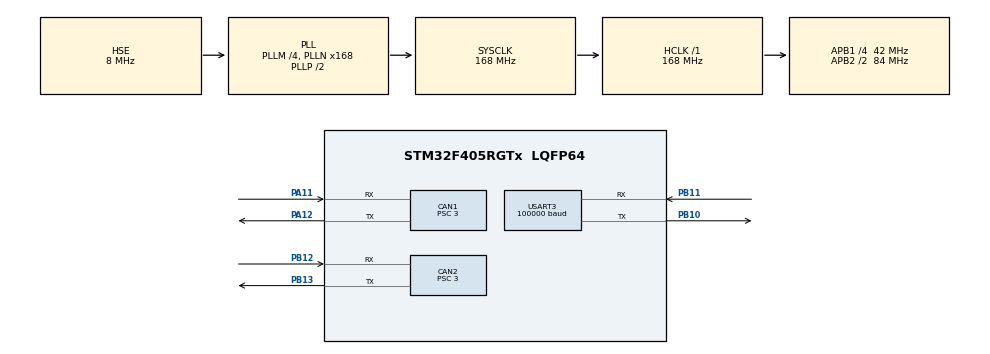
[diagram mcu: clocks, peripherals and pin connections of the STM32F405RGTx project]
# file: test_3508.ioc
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CAN1.BS1=CAN_BS1_10TQ
CAN1.BS2=CAN_BS2_3TQ
CAN1.CalculateBaudRate=1000000
CAN1.CalculateTimeBit=1000
CAN1.CalculateTimeQuantum=71.42857142857143
CAN1.Prescaler=3
CAN2.BS1=CAN_BS1_10TQ
CAN2.BS2=CAN_BS2_3TQ
CAN2.CalculateBaudRate=1000000
CAN2.CalculateTimeBit=1000
CAN2.CalculateTimeQuantum=71.42857142857143
CAN2.Prescaler=3
Dma.Request0=USART3_RX
Dma.Request1=USART3_TX
Dma.USART3_RX.0.Direction=DMA_PERIPH_TO_MEMORY
Dma.USART3_RX.0.FIFOMode=DMA_FIFOMODE_DISABLE
Dma.USART3_RX.0.Instance=DMA1_Stream1
Dma.USART3_RX.0.MemDataAlignment=DMA_MDATAALIGN_BYTE
Dma.USART3_RX.0.MemInc=DMA_MINC_ENABLE
Dma.USART3_RX.0.Mode=DMA_NORMAL
Dma.USART3_RX.0.PeriphDataAlignment=DMA_PDATAALIGN_BYTE
Dma.USART3_RX.0.PeriphInc=DMA_PINC_DISABLE
Dma.USART3_RX.0.Priority=DMA_PRIORITY_LOW
Dma.USART3_TX.1.Direction=DMA_MEMORY_TO_PERIPH
Dma.USART3_TX.1.FIFOMode=DMA_FIFOMODE_DISABLE
Dma.USART3_TX.1.Instance=DMA1_Stream3
Dma.USART3_TX.1.MemDataAlignment=DMA_MDATAALIGN_BYTE
Dma.USART3_TX.1.MemInc=DMA_MINC_ENABLE
Dma.USART3_TX.1.Mode=DMA_NORMAL
Dma.USART3_TX.1.PeriphDataAlignment=DMA_PDATAALIGN_BYTE
Dma.USART3_TX.1.PeriphInc=DMA_PINC_DISABLE
Dma.USART3_TX.1.Priority=DMA_PRIORITY_LOW
FREERTOS.INCLUDE_vTaskDelayUntil=1
FREERTOS.Tasks01=defaultTask,2,128,StartDefaultTask,Default,NULL,Dynamic,NULL,NULL;myTask02,2,128,StartTask02,Default,NULL,Dynamic,NULL,NULL;myTask03,2,128,StartTask03,Default,NULL,Dynamic,NULL,NULL;myTask04,2,128,StartTask04,Default,NULL,Dynamic,NULL,NULL;myTask05,2,128,StartTask05,Default,NULL,Dynamic,NULL,NULL;myTask06,2,128,StartTask06,Default,NULL,Dynamic,NULL,NULL
Mcu.Family=STM32F4
Mcu.Name=STM32F405RGTx
Mcu.Package=LQFP64
NVIC.CAN1_RX0_IRQn=true\:5\:0\:false\:false\:true\:true\:true\:true\:true
NVIC.CAN1_RX1_IRQn=true\:5\:0\:false\:false\:true\:true\:true\:true\:true
NVIC.CAN1_SCE_IRQn=true\:5\:0\:false\:false\:true\:true\:true\:true\:true
NVIC.CAN1_TX_IRQn=true\:5\:0\:false\:false\:true\:true\:true\:true\:true
NVIC.CAN2_RX0_IRQn=true\:5\:0\:false\:false\:true\:true\:true\:true\:true
NVIC.CAN2_RX1_IRQn=true\:5\:0\:false\:false\:true\:true\:true\:true\:true
NVIC.CAN2_SCE_IRQn=true\:5\:0\:false\:false\:true\:true\:true\:true\:true
NVIC.CAN2_TX_IRQn=true\:5\:0\:false\:false\:true\:true\:true\:true\:true
NVIC.DMA1_Stream1_IRQn=true\:5\:0\:false\:false\:true\:true\:false\:true\:true
NVIC.DMA1_Stream3_IRQn=true\:5\:0\:false\:false\:true\:true\:false\:true\:true
NVIC.PriorityGroup=NVIC_PRIORITYGROUP_4
NVIC.TIM2_IRQn=true\:15\:0\:false\:false\:true\:false\:false\:true\:true
NVIC.TimeBase=TIM2_IRQn
NVIC.TimeBaseIP=TIM2
NVIC.USART3_IRQn=true\:5\:0\:false\:false\:true\:true\:true\:true\:true
PA11.Mode=CAN_Activate
PA11.Signal=CAN1_RX
PA12.Mode=CAN_Activate
PA12.Signal=CAN1_TX
PA13.Mode=Serial_Wire
PA13.Signal=SYS_JTMS-SWDIO
PA14.Mode=Serial_Wire
PA14.Signal=SYS_JTCK-SWCLK
PB10.Mode=Asynchronous
PB10.Signal=USART3_TX
PB11.Mode=Asynchronous
PB11.Signal=USART3_RX
PB12.Mode=CAN_Activate
PB12.Signal=CAN2_RX
PB13.Mode=CAN_Activate
PB13.Signal=CAN2_TX
PH0-OSC_IN.Mode=HSE-External-Oscillator
PH0-OSC_IN.Signal=RCC_OSC_IN
PH1-OSC_OUT.Mode=HSE-External-Oscillator
PH1-OSC_OUT.Signal=RCC_OSC_OUT
ProjectManager.HeapSize=0x200
ProjectManager.StackSize=0x400
ProjectManager.TargetToolchain=MDK-ARM V5
RCC.48MHZClocksFreq_Value=84000000
RCC.AHBFreq_Value=168000000
RCC.APB1CLKDivider=RCC_HCLK_DIV4
RCC.APB1Freq_Value=42000000
RCC.APB1TimFreq_Value=84000000
RCC.APB2CLKDivider=RCC_HCLK_DIV2
RCC.APB2Freq_Value=84000000
RCC.APB2TimFreq_Value=168000000
RCC.CortexFreq_Value=168000000
RCC.HCLKFreq_Value=168000000
RCC.HSE_VALUE=8000000
RCC.HSI_VALUE=16000000
RCC.LSE_VALUE=32768
RCC.PLLM=4
RCC.PLLN=168
RCC.PLLSourceVirtual=RCC_PLLSOURCE_HSE
RCC.SYSCLKFreq_VALUE=168000000
RCC.SYSCLKSource=RCC_SYSCLKSOURCE_PLLCLK
RCC.VCOOutputFreq_Value=336000000
USART3.BaudRate=100000
USART3.VirtualMode=VM_ASYNC
VP_FREERTOS_VS_CMSIS_V1.Mode=CMSIS_V1
VP_SYS_VS_tim2.Mode=TIM2
board=custom

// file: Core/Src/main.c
/* USER CODE BEGIN Header */
/**
  ******************************************************************************
  * @file           : main.c
  * @brief          : Main program body
  ******************************************************************************
  * @attention
  *
  * Copyright (c) 2025 STMicroelectronics.
  * All rights reserved.
  *
  * This software is licensed under terms that can be found in the LICENSE file
  * in the root directory of this software component.
  * If no LICENSE file comes with this software, it is provided AS-IS.
  *
  ******************************************************************************
  */
/* USER CODE END Header */
#include "main.h"
#include "cmsis_os.h"
#include "can.h"
#include "dma.h"
#include "usart.h"
#include "gpio.h"

/* USER CODE BEGIN Includes */
#include "Filter.h"
#include "stdio.h"
#include "test_DM.h"
#include "String.h"
/* USER CODE END Includes */

/* USER CODE BEGIN PTD */
#define pi 3.141592653589793238462643383279f
#define get_motor_measure_DM(ptr, data)				  																									\
		{											  																																			\
			(ptr)->ID 			 	  	= data[0]&0x0F;																												\
			(ptr)->ERR				  	= (data[0]>>4)&0x0F;																									\
			(ptr)->DM_ecd			 	= (uint16_t)((uint16_t)data[1]<<8|(uint16_t)data[2])/65536.0*pi-pi/2.f;	\
			(ptr)->DM_speed_rpm  = ((uint16_t)data[3]<<4|(uint16_t)data[4]>>4)/4096.0*60-30;						\
			(ptr)->Torque		 	  	= ((uint16_t)(data[4]&0x0F)<<8|(uint16_t)data[5])/4096.0*20-10;				\
			(ptr)->T_MOS		 	  	= data[6];																														\
			(ptr)->T_Rotor	 			= data[7];																														\
		}

#define get_motor_measure_DJI(ptr, data)                                \
    {                                                                   \
      (ptr)->last_ecd 		   = (ptr)->ecd;                              \
      (ptr)->ecd 					   = (uint16_t)((data)[0] << 8 | (data)[1]);  \
      (ptr)->speed_rpm 		   = (uint16_t)((data)[2] << 8 | (data)[3]);  \
      (ptr)->given_current   = (uint16_t)((data)[4] << 8 | (data)[5]);  \
      (ptr)->temperate 		   = (data)[6];                               \
    }
/* USER CODE END PTD */

/* USER CODE BEGIN PD */
#define POS_ERROR_SUM_LIM 500.0f         //pos_error_sum限幅
#define TARGET_SPEED_LIM 300.0f          //target_speed限幅
#define SPEED_ERROR_SUM_LIM 800.0f       //speed_error_sum限幅
#define OUTPUT_LIM 20000                 //output限幅

float actual_speed[16];
float actual_angle[16];

uint8_t dm_id = 0;
uint16_t suo = 0;
uint8_t rx_data[8]={0};
/* USER CODE END PD */

/* USER CODE BEGIN PM */
typedef struct motor32_struct    //一些参数，PID用,[id-1]为对应id电机参数
{
    float speed_error_sum;
    float speed_last_error;
    float pos_error_sum;
    float pos_last_error;
} motor32_measure_t;

motor32_measure_t motor[16];

typedef struct  motor_struct       //电机反馈参数,[id-1]为对应id电机参数
{
	uint16_t ecd;
	int16_t speed_rpm;
	int16_t given_current;
	uint8_t temperate;
	int16_t last_ecd;
	int16_t flag;
	int32_t flag_ecd;

	uint8_t ID;
	uint8_t ERR;

	uint8_t T_MOS;
	uint8_t T_Rotor;
	float DM_ecd;
	float	DM_speed_rpm;
	float	Torque;

	void    (*clear_cnt )(struct motor_struct *self);
} motor_measure_t;

motor_measure_t can2_motor[16];
/* USER CODE END PM */

/* USER CODE BEGIN PV */
float SetTargetangle1(float angle);
int16_t Pos_PID1(float kp, float ki, float kd,float target_angle,uint8_t id,char motor_type);
int16_t Speed_PID1(float kp, float ki, float kd,float target_speed,uint8_t id,char motor_type);
void RM_M3508M2006G6020_Control(int16_t torque,CAN_HandleTypeDef hcan,uint8_t id,char motor_type,char mode,float target_Speed,float target_Angle);
void motor_clear_cnt(motor_measure_t *self);
void HAL_CAN_RxFifo0MsgPendingCallback(CAN_HandleTypeDef *hcan);
/* USER CODE END PV */

void SystemClock_Config(void);
void MX_FREERTOS_Init(void);

int main(void)
{

  /* MCU Configuration--------------------------------------------------------*/

  /* Reset of all peripherals, Initializes the Flash interface and the Systick. */
  HAL_Init();

  /* Configure the system clock */
  SystemClock_Config();

  /* Initialize all configured peripherals */
  MX_GPIO_Init();
  MX_DMA_Init();
  MX_CAN1_Init();
  MX_CAN2_Init();
  MX_USART3_UART_Init();
  /* USER CODE BEGIN 2 */
	Filter();
	for(int i=0;i<16;i++)
	{
		can2_motor[i].clear_cnt=motor_clear_cnt;
		actual_speed[i]=0;
		actual_angle[i]=0;
	}
  /* USER CODE END 2 */

  /* Call init function for freertos objects (in cmsis_os2.c) */
  MX_FREERTOS_Init();

  /* Start scheduler */
  osKernelStart();

  /* We should never get here as control is now taken by the scheduler */

  /* Infinite loop */
  while (1)
  {

  }
}

void SystemClock_Config(void)
{
  RCC_OscInitTypeDef RCC_OscInitStruct = {0};
  RCC_ClkInitTypeDef RCC_ClkInitStruct = {0};

  /** Configure the main internal regulator output voltage
  */
  __HAL_RCC_PWR_CLK_ENABLE();
  __HAL_PWR_VOLTAGESCALING_CONFIG(PWR_REGULATOR_VOLTAGE_SCALE1);

  /** Initializes the RCC Oscillators according to the specified parameters
  * in the RCC_OscInitTypeDef structure.
  */
  RCC_OscInitStruct.OscillatorType = RCC_OSCILLATORTYPE_HSE;
  RCC_OscInitStruct.HSEState = RCC_HSE_ON;
  RCC_OscInitStruct.PLL.PLLState = RCC_PLL_ON;
  RCC_OscInitStruct.PLL.PLLSource = RCC_PLLSOURCE_HSE;
  RCC_OscInitStruct.PLL.PLLM = 4;
  RCC_OscInitStruct.PLL.PLLN = 168;
  RCC_OscInitStruct.PLL.PLLP = RCC_PLLP_DIV2;
  RCC_OscInitStruct.PLL.PLLQ = 4;
  if (HAL_RCC_OscConfig(&RCC_OscInitStruct) != HAL_OK)
  {
    Error_Handler();
  }

  /** Initializes the CPU, AHB and APB buses clocks
  */
  RCC_ClkInitStruct.ClockType = RCC_CLOCKTYPE_HCLK|RCC_CLOCKTYPE_SYSCLK
                              |RCC_CLOCKTYPE_PCLK1|RCC_CLOCKTYPE_PCLK2;
  RCC_ClkInitStruct.SYSCLKSource = RCC_SYSCLKSOURCE_PLLCLK;
  RCC_ClkInitStruct.AHBCLKDivider = RCC_SYSCLK_DIV1;
  RCC_ClkInitStruct.APB1CLKDivider = RCC_HCLK_DIV4;
  RCC_ClkInitStruct.APB2CLKDivider = RCC_HCLK_DIV2;

  if (HAL_RCC_ClockConfig(&RCC_ClkInitStruct, FLASH_LATENCY_5) != HAL_OK)
  {
    Error_Handler();
  }
}

/* USER CODE BEGIN 4 */
int16_t Pos_PID1(float kp, float ki, float kd,float target_angle,uint8_t id,char motor_type)
{
		float target_speed = 0.0f;
		uint8_t arr = 0;

		if(motor_type=='M'||motor_type=='m') arr = id-1;
		else if(motor_type=='G'||motor_type=='g') arr = 3+id;

    float pos_error = target_angle - actual_angle[arr];

		if (pos_error > 4096)  pos_error -= 8192;
		if (pos_error < -4096) pos_error += 8192;

    motor[arr].pos_error_sum += pos_error;

    if(motor[arr].pos_error_sum > POS_ERROR_SUM_LIM)    motor[arr].pos_error_sum = POS_ERROR_SUM_LIM;
    if(motor[arr].pos_error_sum < -POS_ERROR_SUM_LIM)   motor[arr].pos_error_sum = -POS_ERROR_SUM_LIM;

    float pos_change = pos_error - motor[arr].pos_last_error;

    target_speed = kp * pos_error + ki * motor[arr].pos_error_sum + kd * pos_change;

    if(target_speed > TARGET_SPEED_LIM) target_speed = TARGET_SPEED_LIM;
    if(target_speed < -TARGET_SPEED_LIM) target_speed = -TARGET_SPEED_LIM;

    motor[arr].pos_last_error = pos_error;
		return target_speed;
}

int16_t Speed_PID1(float kp, float ki, float kd,float target_speed,uint8_t id,char motor_type)
{
	uint8_t arr = 0;
	if(motor_type=='M'||motor_type=='m') arr = id-1;
	else if(motor_type=='G'||motor_type=='g') arr = 3+id;

    float speed_error = target_speed - actual_speed[arr];
    motor[arr].speed_error_sum += speed_error;

    if(motor[arr].speed_error_sum > SPEED_ERROR_SUM_LIM)    motor[arr].speed_error_sum = SPEED_ERROR_SUM_LIM;
    if(motor[arr].speed_error_sum < -SPEED_ERROR_SUM_LIM)   motor[arr].speed_error_sum = -SPEED_ERROR_SUM_LIM;

    float speed_change = speed_error - motor[arr].speed_last_error;

    float output = kp * speed_error + ki * motor[arr].speed_error_sum + kd * speed_change;

    if(output > OUTPUT_LIM) output = OUTPUT_LIM;
    if(output < -OUTPUT_LIM) output = -OUTPUT_LIM;

    motor[arr].speed_last_error = speed_error;
		return output;
}

void RM_M3508M2006G6020_Control(int16_t torque,CAN_HandleTypeDef hcan,uint8_t id,char motor_type,char mode,float target_Speed,float target_Angle)
{
	uint32_t StdID = 0;
	if(motor_type=='M'||motor_type=='m')      {  if(id>=1&&id<=4) StdID = 0x200;   else if(id>=5&&id<=8) StdID = 0x1FF;}
	else if(motor_type=='G'||motor_type=='g') {  if(id>=1&&id<=4) StdID = 0x1FF;   else if(id>=5&&id<=8) StdID = 0x2FF;}

	int32_t Torque = 0;

	if(mode=='p')     //闭角度PID
	{
		int16_t target_speed = Pos_PID1(0.45f, 0.00002f, 0.0f,target_Angle,id,motor_type);
    Torque = Speed_PID1(7.0f, 0.08f, 8.0f,target_speed,id,motor_type);
	}
	else if(mode=='s')          //闭速度PID
	{
		Torque = Speed_PID1(7.0f, 0.08f, 8.0f,target_Speed,id,motor_type);
	}
	else if(mode=='0')          //没有PID
	{
		Torque = torque;
	}
	/*-----------发送部分-----------*/
		CAN_TxHeaderTypeDef tx_header;
    uint32_t mailbox;
    uint8_t data[8] = {0};

    tx_header.StdId = StdID;
    tx_header.ExtId = 0;
    tx_header.IDE = CAN_ID_STD;
    tx_header.RTR = CAN_RTR_DATA;
    tx_header.DLC = 8;
    tx_header.TransmitGlobalTime = DISABLE;

		uint8_t data_index;
    if (id <= 4) {
        data_index = (id - 1) * 2;
    } else {
        data_index = (id - 5) * 2;
    }

    data[data_index] = (Torque >> 8) & 0xFF;
    data[data_index + 1] = Torque;

		/*data[0]=(Torque>>8) & 0xFF;
		data[1]=Torque & 0xFF;
		data[2]=(Torque>>8)& 0xFF;
		data[3]=Torque & 0xFF;
		data[4]=(Torque>>8) & 0xFF;
		data[5]=Torque & 0xFF;
		data[6]=(Torque>>8) & 0xFF;
		data[7]=Torque & 0xFF;*/

		HAL_CAN_AddTxMessage(&hcan, &tx_header, data, &mailbox);

}
void motor_clear_cnt(motor_measure_t *self)
	{

    self->flag = 0;
    self->flag_ecd = 0;
    self->last_ecd = self->ecd;
	}

void HAL_CAN_RxFifo0MsgPendingCallback(CAN_HandleTypeDef *hcan)
{
    CAN_RxHeaderTypeDef rx_header;
    HAL_CAN_GetRxMessage(hcan, CAN_RX_FIFO0, &rx_header, rx_data);

		if(hcan->Instance==CAN1||hcan->Instance==CAN2)
		{
			switch(rx_header.StdId)
			{
				case 0x201:
					get_motor_measure_DJI(&can2_motor[0], rx_data);
					can2_motor[0].clear_cnt(&can2_motor[0]);
					actual_angle[0] = can2_motor[0].ecd;
					actual_speed[0] = can2_motor[0].speed_rpm;
				break;

				case 0x202:
					get_motor_measure_DJI(&can2_motor[1], rx_data);
					can2_motor[1].clear_cnt(&can2_motor[1]);
					actual_angle[1] = can2_motor[1].ecd;
					actual_speed[1] = can2_motor[1].speed_rpm;
				break;

				case 0x203:
					get_motor_measure_DJI(&can2_motor[2], rx_data);
					can2_motor[2].clear_cnt(&can2_motor[2]);
					actual_angle[2] = can2_motor[2].ecd;
					actual_speed[2] = can2_motor[2].speed_rpm;
				break;

				case 0x204:
					get_motor_measure_DJI(&can2_motor[3], rx_data);
					can2_motor[3].clear_cnt(&can2_motor[3]);
					actual_angle[3] = can2_motor[3].ecd;
					actual_speed[3] = can2_motor[3].speed_rpm;
				break;

				case 0x205:
					get_motor_measure_DJI(&can2_motor[4], rx_data);
					can2_motor[4].clear_cnt(&can2_motor[4]);
					actual_angle[4] = can2_motor[4].ecd;
					actual_speed[4] = can2_motor[4].speed_rpm;
				break;

				case 0x206:
					get_motor_measure_DJI(&can2_motor[5], rx_data);
					can2_motor[5].clear_cnt(&can2_motor[5]);
					actual_angle[5] = can2_motor[5].ecd;
					actual_speed[5] = can2_motor[5].speed_rpm;
				break;

				case 0x207:
					get_motor_measure_DJI(&can2_motor[6], rx_data);
					can2_motor[6].clear_cnt(&can2_motor[6]);
					actual_angle[6] = can2_motor[6].ecd;
					actual_speed[6] = can2_motor[6].speed_rpm;
				break;

				case 0x208:
					get_motor_measure_DJI(&can2_motor[7], rx_data);
					can2_motor[7].clear_cnt(&can2_motor[7]);
					actual_angle[7] = can2_motor[7].ecd;
					actual_speed[7] = can2_motor[7].speed_rpm;
				break;

				case 0x012:                                         //DM4310反馈
					dm_id = rx_data[0]&0x0F;
					suo = (dm_id + 7);
					get_motor_measure_DM(&can2_motor[suo], rx_data);
					can2_motor[suo].clear_cnt(&can2_motor[suo]);
				break;
			}
		}
}

float SetTargetangle1(float angle)
{
    int32_t target_angle =(angle / 360.0f) * 8191.0f;
	return target_angle;
}
/* USER CODE END 4 */

void HAL_TIM_PeriodElapsedCallback(TIM_HandleTypeDef *htim)
{
  if (htim->Instance == TIM2)
  {
    HAL_IncTick();
  }
}

void Error_Handler(void)
{
  __disable_irq();
  while (1)
  {
  }
}

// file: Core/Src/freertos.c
/* USER CODE BEGIN Header */
/**
  ******************************************************************************
  * File Name          : freertos.c
  * Description        : Code for freertos applications
  ******************************************************************************
  * @attention
  *
  * Copyright (c) 2025 STMicroelectronics.
  * All rights reserved.
  *
  * This software is licensed under terms that can be found in the LICENSE file
  * in the root directory of this software component.
  * If no LICENSE file comes with this software, it is provided AS-IS.
  *
  ******************************************************************************
  */
/* USER CODE END Header */

#include "FreeRTOS.h"
#include "task.h"
#include "main.h"
#include "cmsis_os.h"

/* USER CODE BEGIN Includes */
#include "test_DM.h"
#include "String.h"
/* USER CODE END Includes */

/* USER CODE BEGIN PM */
extern CAN_HandleTypeDef hcan1;
extern CAN_HandleTypeDef hcan2;
uint8_t DM_Motor_id = 0;
/* USER CODE END PM */

/* USER CODE BEGIN Variables */
extern float SetTargetangle1(float angle);
extern void RM_M3508M2006G6020_Control(int16_t torque,CAN_HandleTypeDef hcan,uint8_t id,char motor_type,char mode,float target_Speed,float target_Angle);
extern void DM_Send(int16_t Torque,CAN_HandleTypeDef hcan,uint8_t motor_ID);//MIT
extern void HAL_CAN_RxFifo0MsgPendingCallback(CAN_HandleTypeDef *hcan);
/* USER CODE END Variables */
osThreadId defaultTaskHandle;
osThreadId myTask02Handle;
osThreadId myTask03Handle;
osThreadId myTask04Handle;
osThreadId myTask05Handle;
osThreadId myTask06Handle;

void StartDefaultTask(void const * argument);
void StartTask02(void const * argument);
void StartTask03(void const * argument);
void StartTask04(void const * argument);
void StartTask05(void const * argument);
void StartTask06(void const * argument);

void MX_FREERTOS_Init(void); /* (MISRA C 2004 rule 8.1) */

/* GetIdleTaskMemory prototype (linked to static allocation support) */
void vApplicationGetIdleTaskMemory( StaticTask_t **ppxIdleTaskTCBBuffer, StackType_t **ppxIdleTaskStackBuffer, uint32_t *pulIdleTaskStackSize );

/* USER CODE BEGIN GET_IDLE_TASK_MEMORY */
static StaticTask_t xIdleTaskTCBBuffer;
static StackType_t xIdleStack[configMINIMAL_STACK_SIZE];

void vApplicationGetIdleTaskMemory( StaticTask_t **ppxIdleTaskTCBBuffer, StackType_t **ppxIdleTaskStackBuffer, uint32_t *pulIdleTaskStackSize )
{
  *ppxIdleTaskTCBBuffer = &xIdleTaskTCBBuffer;
  *ppxIdleTaskStackBuffer = &xIdleStack[0];
  *pulIdleTaskStackSize = configMINIMAL_STACK_SIZE;
  /* place for user code */
}
/* USER CODE END GET_IDLE_TASK_MEMORY */

void MX_FREERTOS_Init(void) {

  /* Create the thread(s) */
  /* definition and creation of defaultTask */
  osThreadDef(defaultTask, StartDefaultTask, osPriorityHigh, 0, 128);
  defaultTaskHandle = osThreadCreate(osThread(defaultTask), NULL);

  /* definition and creation of myTask02 */
  osThreadDef(myTask02, StartTask02, osPriorityHigh, 0, 128);
  myTask02Handle = osThreadCreate(osThread(myTask02), NULL);

  /* definition and creation of myTask03 */
  osThreadDef(myTask03, StartTask03, osPriorityHigh, 0, 128);
  myTask03Handle = osThreadCreate(osThread(myTask03), NULL);

  /* definition and creation of myTask04 */
  osThreadDef(myTask04, StartTask04, osPriorityHigh, 0, 128);
  myTask04Handle = osThreadCreate(osThread(myTask04), NULL);

  /* definition and creation of myTask05 */
  osThreadDef(myTask05, StartTask05, osPriorityHigh, 0, 128);
  myTask05Handle = osThreadCreate(osThread(myTask05), NULL);

  /* definition and creation of myTask06 */
  osThreadDef(myTask06, StartTask06, osPriorityHigh, 0, 128);
  myTask06Handle = osThreadCreate(osThread(myTask06), NULL);

}

/* USER CODE BEGIN Header_StartDefaultTask */
/**
  * @brief  Function implementing the defaultTask thread.
  * @param  argument: Not used
  * @retval Nogne
  */
/* USER CODE END Header_StartDefaultTask */
void StartDefaultTask(void const * argument)
{
  /* USER CODE BEGIN StartDefaultTask */

	CAN_HandleTypeDef *Hcan = &hcan2;   //hcan 1/2

	char motor = 'M';       //电机类型  M->3508/2006/6020  D->DM4310

	uint8_t DM_Motor_id = 1;    //4310的ID

	if(motor=='D')
	{
		CAN_cmd_Enable(*Hcan,DM_Motor_id);//4310的使能
		osDelay(100);
	}

  /* Infinite loop */
  for(;;)
  {
		if(motor=='M')
		{
			char mode = '0';          //p:闭角度   s:闭速度  0:纯给扭矩
			char motor_type = 'M';        //motor_type: M/m->M3508/M2006 , G/g->G6020

			RM_M3508M2006G6020_Control(-1500, *Hcan, 1, motor_type, mode, 200.0f, SetTargetangle1(90.0f));//torque(mode=speed或pos填啥都无所谓)  hcan  motor_id   mode   target_speed(mode=0或pos填啥都无所谓)   target_angle(mode=0或speed填啥都无所谓)
		}
		else if(motor=='D')
		{
			DM_Send(5,*Hcan,DM_Motor_id);           //torque  hcan  motor_id      //MIT
		}
    osDelay(1);
  }
  /* USER CODE END StartDefaultTask */
}

void StartTask02(void const * argument)
{
  for(;;)
  {
    osDelay(1);
  }
}

void StartTask03(void const * argument)
{
  for(;;)
  {
    osDelay(1);
  }
}

void StartTask04(void const * argument)
{
  for(;;)
  {
    osDelay(1);
  }
}

void StartTask05(void const * argument)
{
  for(;;)
  {
    osDelay(1);
  }
}

void StartTask06(void const * argument)
{
  for(;;)
  {
    osDelay(1);
  }
}
